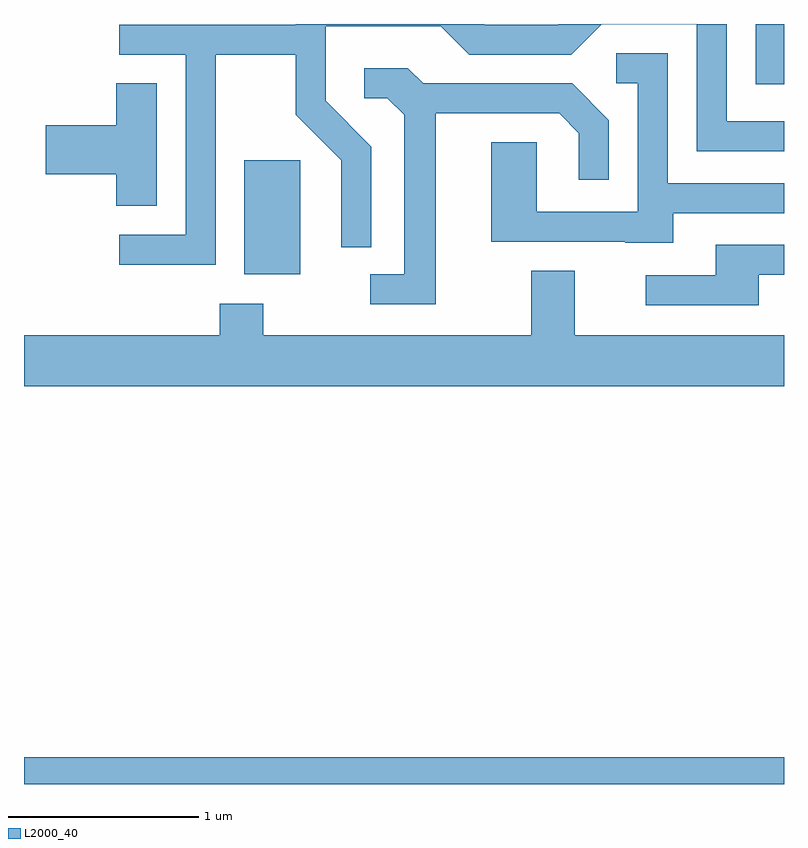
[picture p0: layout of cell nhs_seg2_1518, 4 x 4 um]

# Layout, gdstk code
import gdstk
lib = gdstk.Library(unit=1e-6, precision=1e-09)
def R(c, l, rs):  # rectangles x0, y0, x1, y1
    for r in rs: c.add(gdstk.rectangle(r[:2], r[2:], *l))
def P(c, l, *ps):  # polygons
    for p in ps: c.add(gdstk.Polygon(p, *l))
L2000_40 = (2000, 40)

nhs_seg2_1518 = lib.new_cell('nhs_seg2_1518')
R(nhs_seg2_1518, L2000_40, [(229.611,1021.802,233.611,1021.944), (230.771,1024.486,231.064,1025.084), (233.461,1025.486,233.611,1025.802)])
P(nhs_seg2_1518, L2000_40, [(230.619,1025.641),(231.041,1025.641),(231.041,1025.324),(231.281,1025.084),(231.281,1024.628),(231.439,1024.628),(231.439,1025.157),(231.199,1025.397),(231.199,1025.791),(231.804,1025.791),(231.954,1025.641),(232.492,1025.641),(232.652,1025.801),(233.151,1025.801),(233.151,1025.131),(233.611,1025.131),(233.611,1025.289),(233.309,1025.289),(233.309,1025.802),(232.422,1025.802),(232.419,1025.799),(232.037,1025.799),(232.034,1025.802),(231.041,1025.802),(231.041,1025.799),(230.113,1025.799),(230.113,1025.641),(230.461,1025.641),(230.461,1024.694),(230.113,1024.694),(230.113,1024.536),(230.619,1024.536)],
  [(233.029,1024.806),(233.611,1024.806),(233.611,1024.964),(232.999,1024.964),(232.999,1025.649),(232.728,1025.649),(232.728,1025.491),(232.841,1025.491),(232.841,1024.814),(232.309,1024.814),(232.309,1025.179),(232.071,1025.179),(232.071,1024.656),(232.775,1024.656),(232.775,1024.651),(233.029,1024.651)],
  [(231.779,1025.331),(232.429,1025.331),(232.531,1025.228),(232.531,1024.983),(232.689,1024.983),(232.689,1025.296),(232.497,1025.489),(231.712,1025.489),(231.632,1025.569),(231.403,1025.569),(231.403,1025.411),(231.524,1025.411),(231.611,1025.324),(231.611,1024.484),(231.433,1024.484),(231.433,1024.326),(231.779,1024.326)],
  [(230.309,1025.489),(230.096,1025.489),(230.096,1025.269),(229.726,1025.269),(229.726,1025.011),(230.096,1025.011),(230.096,1024.846),(230.309,1024.846)],
  [(233.479,1024.481),(233.611,1024.481),(233.611,1024.639),(233.251,1024.639),(233.251,1024.479),(232.883,1024.479),(232.883,1024.321),(233.479,1024.321)],
  [(233.611,1024.164),(232.509,1024.164),(232.509,1024.504),(232.281,1024.504),(232.281,1024.164),(230.869,1024.164),(230.869,1024.329),(230.641,1024.329),(230.641,1024.164),(229.611,1024.164),(229.611,1023.896),(233.611,1023.896)])

lib.write_gds('nhs_seg2_1518.gds')
